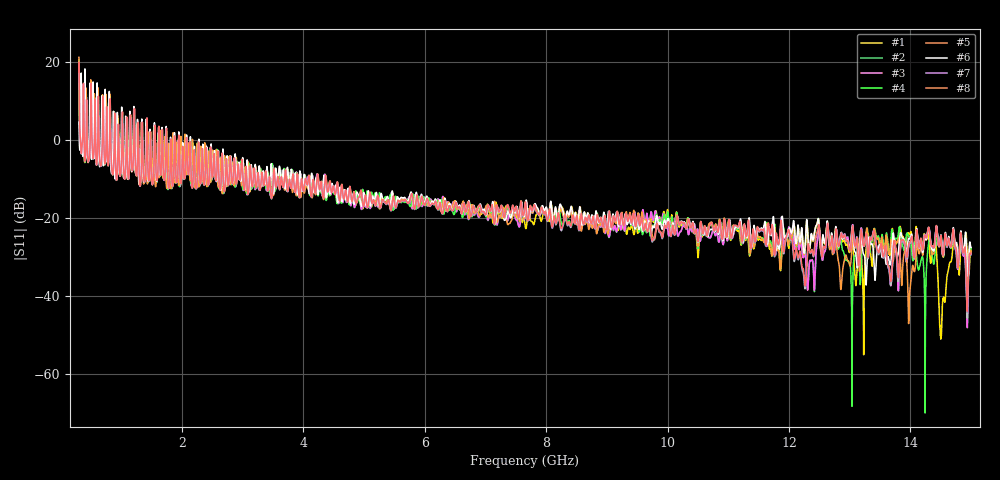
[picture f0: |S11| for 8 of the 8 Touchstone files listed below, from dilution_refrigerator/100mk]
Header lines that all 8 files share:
# GHZ S RI R 50.0
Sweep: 300 MHz to 15 GHz
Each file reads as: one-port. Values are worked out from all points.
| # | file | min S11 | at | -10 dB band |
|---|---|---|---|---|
| 1 | port1_100mk.s1p | -55.1 dB | 13.23 GHz | over 10.63 GHz wide |
| 2 | port2_100mk.s1p | -47.0 dB | 14.94 GHz | over 10.64 GHz wide |
| 3 | port2_100mk_repeat1.s1p | -48.2 dB | 14.94 GHz | over 10.64 GHz wide |
| 4 | port3_100mk.s1p | -70.0 dB | 14.24 GHz | over 10.66 GHz wide |
| 5 | port4_100mk_repeat1.s1p | -47.1 dB | 13.97 GHz | over 10.62 GHz wide |
| 6 | port5_100mk.s1p | -37.2 dB | 13.27 GHz | over 10.65 GHz wide |
| 7 | port6_100mk.s1p | -45.7 dB | 14.94 GHz | over 10.63 GHz wide |
| 8 | port6_100mk_repeat1.s1p | -44.0 dB | 14.94 GHz | over 10.63 GHz wide |
